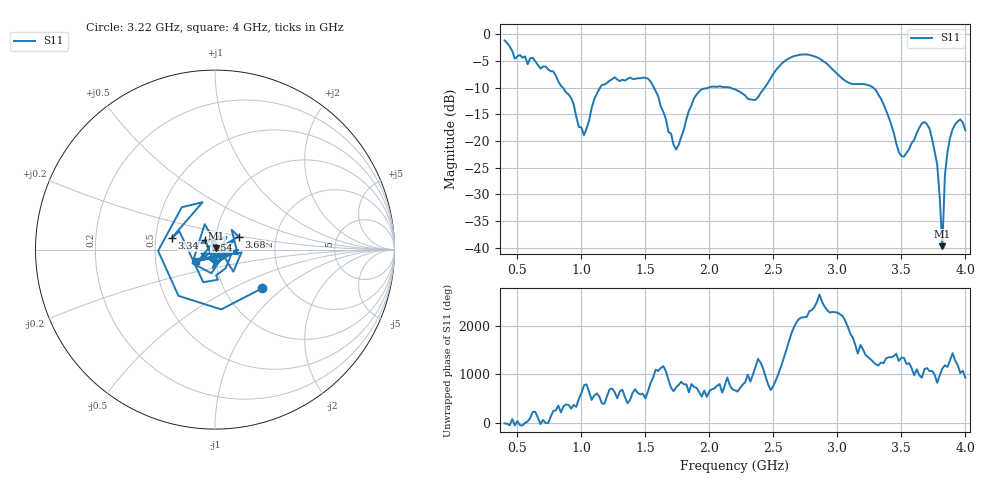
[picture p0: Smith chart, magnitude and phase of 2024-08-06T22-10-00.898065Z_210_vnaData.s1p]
!Created with skrf (http://scikit-rf.org).
# Hz S RI R 50.0
!freq ReS11 ImS11
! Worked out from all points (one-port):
!   181 points, 400 MHz to 4 GHz, reference 50 ohm
!   lowest |S11| = -39.7 dB at 3.82 GHz (marker M1), VSWR 1.02, Z = 50.8 + j0.703 ohm
!   |S11| at or under -10 dB: 855.4 MHz to 1.146 GHz (290.5 MHz wide, 29 % of centre); 1.567 GHz to 1.99 GHz (422.9 MHz wide, 23.8 % of centre); 3.281 GHz to end of sweep (the widest 3 of 4)
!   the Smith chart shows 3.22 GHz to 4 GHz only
!   S11 on the Smith chart (normalised r, x): 3.22 GHz: 1.50, -0.73; 3.34 GHz: 0.61, +0.08; 3.54 GHz: 0.89, +0.10; 3.68 GHz: 1.29, +0.19; 4 GHz: 0.80, -0.11
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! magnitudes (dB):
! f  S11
! 400 MHz  -1.1
! 480 MHz  -4.6
! 620 MHz  -4.4
! 860 MHz  -10.1
! 1.02 GHz  -18.9
! 1.16 GHz  -9.5
! 1.3 GHz  -8.7
! 1.52 GHz  -8.3
! 1.72 GHz  -20.7
! 1.76 GHz  -20.7
! 1.92 GHz  -10.7
! 2.2 GHz  -10.3
! 2.36 GHz  -12.3
! 2.66 GHz  -4.1
! 3.1 GHz  -9.2
! 3.22 GHz  -9.4
! 3.34 GHz  -12.1
! 3.48 GHz  -22.1
! 3.54 GHz  -22.2
! 3.56 GHz  -21.5
! 3.68 GHz  -16.4
! 3.72 GHz  -17.7
! 3.78 GHz  -24.4
! 3.82 GHz  -39.7
! 3.84 GHz  -26.4
! 3.88 GHz  -19.4
! 3.96 GHz  -15.9
! 4 GHz  -18.0
